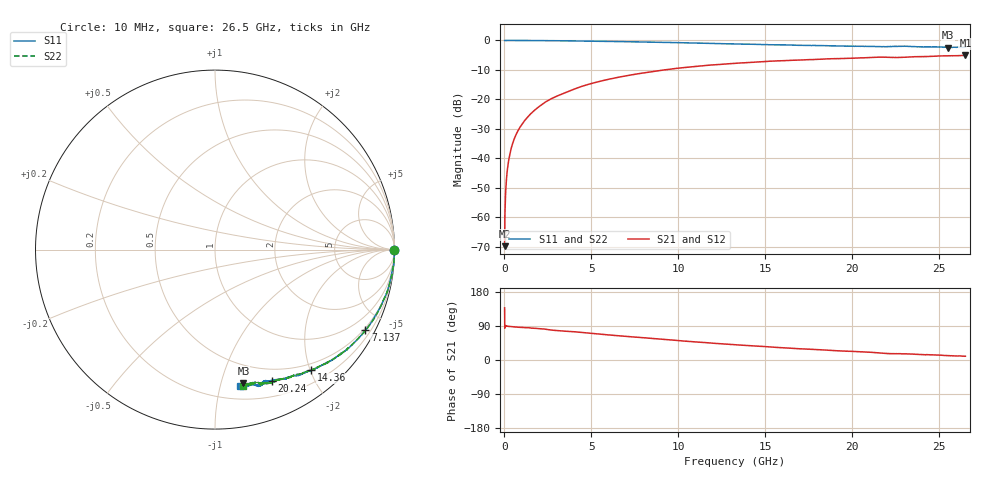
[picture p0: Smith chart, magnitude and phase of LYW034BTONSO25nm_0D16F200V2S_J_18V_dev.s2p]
!Keysight Technologies,N5222B,MY61253708,A.15.00.15
!Date: Wednesday, June 19, 2024 08:46:46
!Correction: S11(C  2-Port  )
!S21(C  2-Port  )
!S12(C  2-Port  )
!S22(C  2-Port  )
!S2P File: Measurements: S11, S21, S12, S22:
# Hz S  RI  R 50
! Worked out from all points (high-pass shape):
!   2651 points, 10 MHz to 26.5 GHz, reference 50 ohm
!   highest |S21| = -5.04 dB at 26.5 GHz (marker M1); lowest = -69.8 dB at 10 MHz (marker M2)
!   |S21| within 3 dB of the highest: 12.62 GHz to end of sweep
!   lowest |S11| = -2.4 dB at 25.5 GHz (marker M3), VSWR 7.31, Z = 16.8 - j58.9 ohm
!   |S11| at or under -10 dB: nowhere
!   |S22| runs from -2.3 to 0.0 dB; largest |S21 - S12| = 0.008
!   S11 on the Smith chart (normalised r, x): 10 MHz: open; 7.137 GHz: 0.42, -3.94; 14.36 GHz: 0.39, -2.02; 20.24 GHz: 0.36, -1.46; 26.5 GHz: 0.31, -1.15
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1e7  0.9988 -0.00217  -0.000238 0.000218  -0.000171 0.000501  0.999 -0.000825
7.997358e7  0.9998 -0.00602  4.85e-05 0.00304  4.33e-05 0.00304  0.9993 -0.00562
1.599434e8  0.9997 -0.0123  7.35e-05 0.00609  6.53e-05 0.0061  0.9995 -0.0116
1.999283e8  0.9999 -0.0148  0.000136 0.00762  0.000153 0.00763  0.9996 -0.0141
2.599057e8  0.9993 -0.0194  0.00021 0.00982  0.000203 0.0099  0.9994 -0.0185
3.598679e8  0.9991 -0.0268  0.000382 0.0136  0.000362 0.0138  0.9992 -0.0259
4.898189e8  0.9986 -0.0362  0.000705 0.0186  0.000696 0.0187  0.9987 -0.0349
8.396868e8  0.9973 -0.0608  0.00197 0.0316  0.002 0.0318  0.9974 -0.0603
1.449457e9  0.9886 -0.1058  0.00488 0.0546  0.0049 0.0547  0.9911 -0.102
2.329125e9  0.9775 -0.1641  0.0132 0.0881  0.0134 0.0884  0.979 -0.1643
3.138819e9  0.9638 -0.2193  0.0261 0.115  0.0262 0.1156  0.9649 -0.2178
4.428332e9  0.9306 -0.3005  0.0488 0.1582  0.0491 0.159  0.9324 -0.2975
7.137309e9  0.8381 -0.4492  0.1208 0.2253  0.1219 0.2259  0.8409 -0.4474
8.846664e9  0.7692 -0.5242  0.1737 0.2532  0.175 0.2539  0.7713 -0.5221
1.3255e10  0.5797 -0.6518  0.3119 0.2649  0.314 0.2648  0.5839 -0.6504
1.436458e10  0.5362 -0.6726  0.3422 0.258  0.3436 0.2577  0.54 -0.6688
1.767333e10  0.403 -0.7147  0.4179 0.223  0.4212 0.2216  0.415 -0.713
2.024236e10  0.3168 -0.7313  0.4664 0.1882  0.4688 0.1868  0.3326 -0.7313
2.209166e10  0.2722 -0.7344  0.4947 0.1508  0.4962 0.1486  0.2673 -0.742
2.308129e10  0.2428 -0.7617  0.4993 0.1452  0.5 0.1452  0.2443 -0.7438
2.550038e10  0.1583 -0.7426  0.538 0.1081  0.5395 0.1093  0.1793 -0.7495
2.65e10  0.141 -0.7572  0.5512 0.0969  0.55 0.094  0.1534 -0.7581
